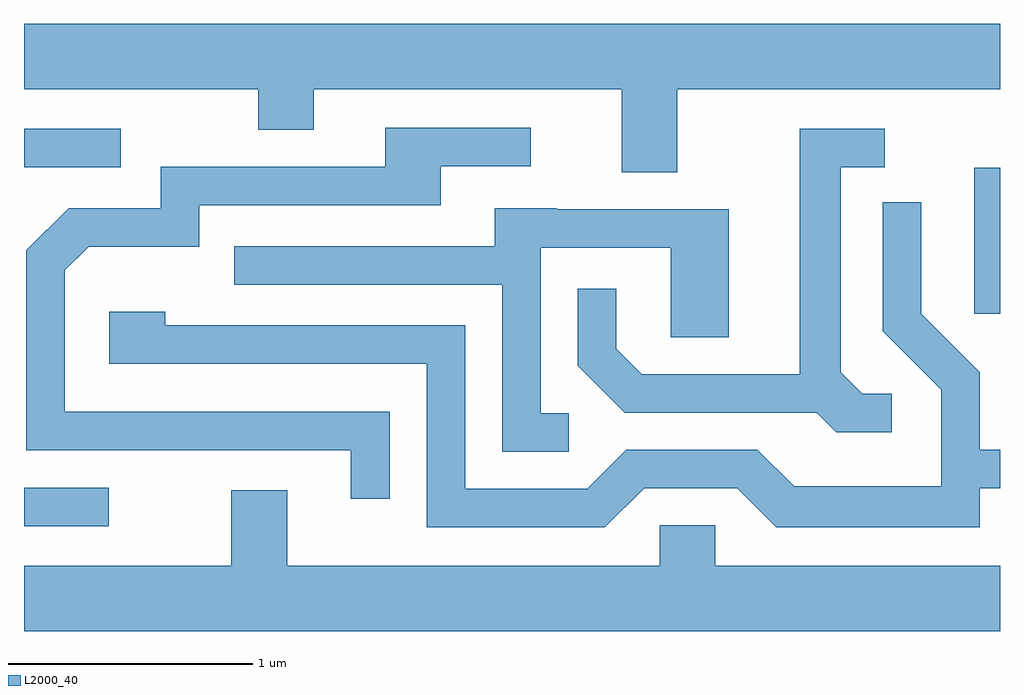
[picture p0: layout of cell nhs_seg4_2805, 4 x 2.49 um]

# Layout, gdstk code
import gdstk
lib = gdstk.Library(unit=1e-6, precision=1e-09)
def R(c, l, rs):  # rectangles x0, y0, x1, y1
    for r in rs: c.add(gdstk.rectangle(r[:2], r[2:], *l))
def P(c, l, *ps):  # polygons
    for p in ps: c.add(gdstk.Polygon(p, *l))
L2000_40 = (2000, 40)

nhs_seg4_2805 = lib.new_cell('nhs_seg4_2805')
R(nhs_seg4_2805, L2000_40, [(267.611,1288.506,267.958,1288.664), (271.506,1289.376,271.611,1289.974), (267.611,1289.976,268.008,1290.134)])
P(nhs_seg4_2805, L2000_40, [(270.289,1290.296),(271.611,1290.296),(271.611,1290.564),(267.611,1290.564),(267.611,1290.296),(268.571,1290.296),(268.571,1290.131),(268.799,1290.131),(268.799,1290.296),(270.061,1290.296),(270.061,1289.956),(270.289,1289.956)],
  [(269.109,1288.974),(267.779,1288.974),(267.779,1289.554),(267.877,1289.651),(268.329,1289.651),(268.329,1289.821),(269.319,1289.821),(269.319,1289.981),(269.688,1289.981),(269.688,1290.139),(269.091,1290.139),(269.091,1289.979),(268.171,1289.979),(268.171,1289.809),(267.794,1289.809),(267.621,1289.637),(267.621,1288.816),(268.951,1288.816),(268.951,1288.618),(269.109,1288.618)],
  [(271.168,1289.049),(271.047,1289.049),(270.959,1289.137),(270.959,1289.976),(271.138,1289.976),(271.138,1290.134),(270.791,1290.134),(270.791,1289.129),(270.142,1289.129),(270.039,1289.232),(270.039,1289.478),(269.881,1289.478),(269.881,1289.164),(270.074,1288.971),(270.859,1288.971),(270.939,1288.891),(271.168,1288.891)],
  [(270.152,1288.661),(270.534,1288.661),(270.694,1288.501),(271.529,1288.501),(271.529,1288.661),(271.611,1288.661),(271.611,1288.819),(271.529,1288.819),(271.529,1289.137),(271.289,1289.377),(271.289,1289.833),(271.131,1289.833),(271.131,1289.304),(271.371,1289.064),(271.371,1288.669),(270.767,1288.669),(270.617,1288.819),(270.079,1288.819),(269.919,1288.659),(269.419,1288.659),(269.419,1289.329),(268.189,1289.329),(268.189,1289.384),(267.961,1289.384),(267.961,1289.171),(269.261,1289.171),(269.261,1288.501),(269.992,1288.501)],
  [(269.843,1288.969),(269.729,1288.969),(269.729,1289.646),(270.261,1289.646),(270.261,1289.281),(270.499,1289.281),(270.499,1289.804),(269.795,1289.804),(269.795,1289.809),(269.541,1289.809),(269.541,1289.654),(268.473,1289.654),(268.473,1289.496),(269.571,1289.496),(269.571,1288.811),(269.843,1288.811)],
  [(271.611,1288.344),(270.444,1288.344),(270.444,1288.509),(270.216,1288.509),(270.216,1288.344),(268.689,1288.344),(268.689,1288.654),(268.461,1288.654),(268.461,1288.344),(267.611,1288.344),(267.611,1288.076),(271.611,1288.076)])

lib.write_gds('nhs_seg4_2805.gds')
